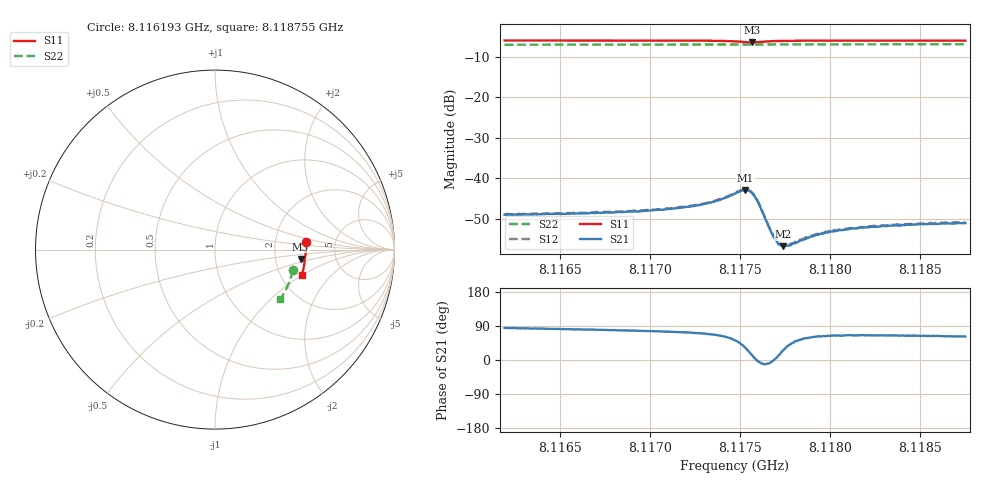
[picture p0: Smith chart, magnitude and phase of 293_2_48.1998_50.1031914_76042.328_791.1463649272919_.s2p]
#  HZ  S  RI  R  50.00
! Rohde & Schwarz Vector Network Analyzer
! Rohde-Schwarz,ZNB20-2Port,1311601062101988,3.16
! Created: UTC 3/20/2024, 11:49:09 AM
! freq[Hz]  re:S11  im:S11  re:S21  im:S21  re:S12  im:S12  re:S22  im:S22
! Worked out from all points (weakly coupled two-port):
!   401 points, 8.116193 GHz to 8.118755 GHz, reference 50 ohm
!   highest |S21| = -42.93 dB at 8.117531 GHz (marker M1); lowest = -56.8 dB at 8.117743 GHz (marker M2)
!   lowest |S11| = -6.4 dB at 8.11757 GHz (marker M3), VSWR 2.84, Z = 139 - j18.8 ohm
!   |S11| at or under -10 dB: nowhere
!   |S22| runs from -7.0 to -6.8 dB; largest |S21 - S12| = 0.00019
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8.1161928e9  0.5052 0.0437  0.000335 0.00351  0.000411 0.00357  0.4341 -0.1147
8.1166219e9  0.5063 0.0113  0.000603 0.00363  0.000669 0.00369  0.4266 -0.1435
8.117051e9  0.5051 -0.0219  0.000997 0.00393  0.00107 0.00399  0.4173 -0.1718
8.117192e9  0.5037 -0.0337  0.00126 0.0042  0.00133 0.00424  0.4137 -0.1811
8.1172944e9  0.5019 -0.0429  0.00163 0.00447  0.00168 0.00454  0.411 -0.1879
8.1174033e9  0.4977 -0.0536  0.00252 0.00496  0.00261 0.00501  0.4079 -0.1951
8.1174738e9  0.4908 -0.0606  0.00399 0.00511  0.00406 0.00516  0.4056 -0.1995
8.1175314e9  0.4801 -0.0604  0.00603 0.00383  0.00621 0.00382  0.4035 -0.2027
8.1175506e9  0.4771 -0.0569  0.00647 0.00266  0.00662 0.00268  0.403 -0.2038
8.1175699e9  0.4766 -0.052  0.00635 0.00133  0.0065 0.00131  0.4024 -0.2047
8.1175891e9  0.4788 -0.0479  0.00568 0.000186  0.0058 0.000111  0.402 -0.2056
8.1176019e9  0.4813 -0.046  0.00505 -0.000289  0.00515 -0.000363  0.4018 -0.2064
8.1176659e9  0.493 -0.0487  0.00237 -0.000336  0.0024 -0.000334  0.4005 -0.2105
8.1176916e9  0.4954 -0.0518  0.00184 2.24e-05  0.00188 -7.5e-06  0.3999 -0.2123
8.1177172e9  0.4969 -0.055  0.00148 0.00034  0.00152 0.00034  0.3992 -0.2137
8.1177428e9  0.4979 -0.0581  0.0013 0.000633  0.00132 0.000652  0.3984 -0.2155
8.1177748e9  0.4985 -0.0617  0.00114 0.000933  0.00116 0.000971  0.3974 -0.2176
8.1179029e9  0.4986 -0.0742  0.000947 0.00167  0.000974 0.0017  0.3934 -0.2258
8.1180118e9  0.4977 -0.0835  0.000948 0.00198  0.000992 0.00202  0.3899 -0.2325
8.1181079e9  0.4964 -0.0912  0.000982 0.00214  0.00104 0.00218  0.3865 -0.2385
8.1183321e9  0.493 -0.1086  0.0011 0.00233  0.00116 0.00237  0.3786 -0.2521
8.1187548e9  0.4848 -0.1395  0.00131 0.00245  0.00134 0.00249  0.3622 -0.277
